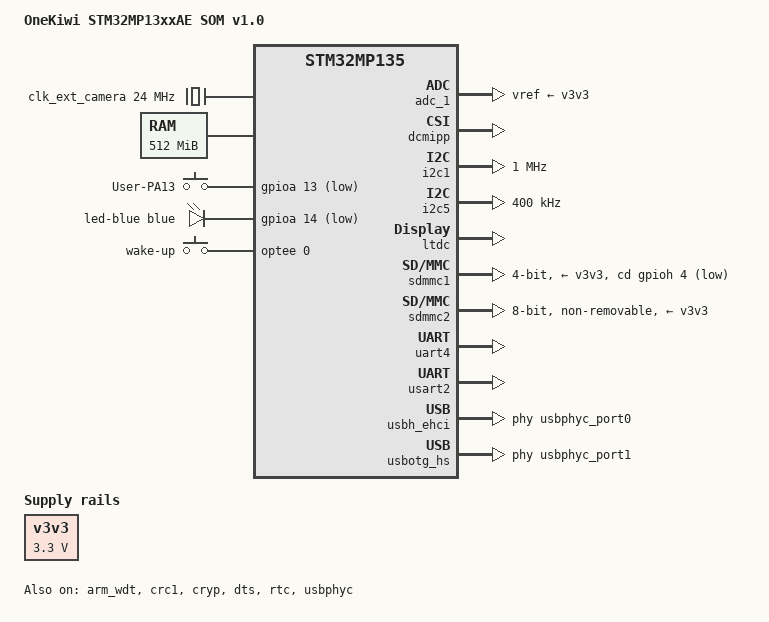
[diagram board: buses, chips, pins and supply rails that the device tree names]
// SPDX-License-Identifier: (GPL-2.0+ OR BSD-3-Clause)
/*
 * Copyright (C) STMicroelectronics 2021 - All Rights Reserved
 * Author: Alexandre Torgue <alexandre.torgue@foss.st.com> for STMicroelectronics.
 */

/dts-v1/;

#include <dt-bindings/gpio/gpio.h>
#include <dt-bindings/input/input.h>
#include <dt-bindings/leds/common.h>
#include <dt-bindings/regulator/st,stm32mp13-regulator.h>
#include <dt-bindings/rtc/rtc-stm32.h>
#include "stm32mp135.dtsi"
#include "stm32mp13xf.dtsi"
#include "stm32mp13-kiwi-pin.dtsi"

/ {
	model = "OneKiwi STM32MP13xxAE SOM v1.0";
	compatible = "st,stm32mp13xxae-som", "st,stm32mp135";

	aliases {
		serial0 = &uart4;
	};

	chosen {
		stdout-path = "serial0:115200n8";
		#address-cells = <1>;
		#size-cells = <1>;
		ranges;

		framebuffer {
			compatible = "simple-framebuffer";
			clocks = <&rcc LTDC_PX>;
			status = "disabled";
		};
	};

	clocks {
		clk_ext_camera: clk-ext-camera {
			#clock-cells = <0>;
			compatible = "fixed-clock";
			clock-frequency = <24000000>;
		};

		clk_mco1: clk-mco1 {
			#clock-cells = <0>;
			compatible = "fixed-clock";
			clock-frequency = <24000000>;
		};
	};

	memory@c0000000 {
		device_type = "memory";
		reg = <0xc0000000 0x20000000>;
	};

	reserved-memory {
		#address-cells = <1>;
		#size-cells = <1>;
		ranges;

		optee@dd000000 {
			reg = <0xdd000000 0x3000000>;
			no-map;
		};
	};

	gpio-keys {
		compatible = "gpio-keys";

		user-pa13 {
			label = "User-PA13";
			linux,code = <BTN_1>;
			gpios = <&gpioa 13 (GPIO_ACTIVE_LOW | GPIO_PULL_UP)>;
		};
	};

	leds {
		compatible = "gpio-leds";

		led-blue {
			function = LED_FUNCTION_HEARTBEAT;
			color = <LED_COLOR_ID_BLUE>;
			gpios = <&gpioa 14 GPIO_ACTIVE_LOW>;
			linux,default-trigger = "heartbeat";
			default-state = "off";
		};
	};

	v3v3: v3v3 {
		compatible = "regulator-fixed";
		regulator-name = "v3v3";
		regulator-min-microvolt = <3300000>;
		regulator-max-microvolt = <3300000>;
		regulator-always-on;
	};

	wake_up {
		compatible = "gpio-keys";
		status = "okay";

		button {
			label = "wake-up";
			linux,code = <KEY_WAKEUP>;
			interrupts-extended = <&optee 0>;
			status = "okay";
		};
	};
};

&adc_1 {
	pinctrl-names = "default";
	pinctrl-0 = <&adc1_usb_cc_pins_a>;
	vdda-supply = <&v3v3>;
	vref-supply = <&v3v3>;
	status = "okay";
	/*
	adc1: adc@0 {
		status = "okay";
		channel@6 {
			reg = <6>;
			st,min-sample-time-ns = <5000>;
		};
		channel@12 {
			reg = <12>;
			st,min-sample-time-ns = <5000>;
		};
	};*/
};

&arm_wdt {
	timeout-sec = <32>;
	status = "okay";
};

&crc1 {
	status = "okay";
};

&cryp {
	status = "okay";
};

&dcmipp {
	status = "okay";
	pinctrl-names = "default", "sleep";
	pinctrl-0 = <&dcmipp_pins_a>;
	pinctrl-1 = <&dcmipp_sleep_pins_a>;
};

&dts {
	status = "okay";
};

&i2c1 {
	pinctrl-names = "default", "sleep";
	pinctrl-0 = <&i2c1_pins_a>;
	pinctrl-1 = <&i2c1_sleep_pins_a>;
	i2c-scl-rising-time-ns = <96>;
	i2c-scl-falling-time-ns = <3>;
	clock-frequency = <1000000>;
	status = "okay";
	/* spare dmas for other usage */
	/delete-property/dmas;
	/delete-property/dma-names;
};

&i2c5 {
	pinctrl-names = "default", "sleep";
	pinctrl-0 = <&i2c5_pins_a>;
	pinctrl-1 = <&i2c5_sleep_pins_a>;
	i2c-scl-rising-time-ns = <170>;
	i2c-scl-falling-time-ns = <5>;
	clock-frequency = <400000>;
	status = "okay";
	/* spare dmas for other usage */
	/delete-property/dmas;
	/delete-property/dma-names;
};

&ltdc {
	pinctrl-names = "default", "sleep";
	pinctrl-0 = <&ltdc_pins_a>;
	pinctrl-1 = <&ltdc_sleep_pins_a>;
	status = "okay";
};

&rtc {
	st,lsco = <RTC_OUT2_RMP>;
	pinctrl-0 = <&rtc_out2_rmp_pins_a>;
	pinctrl-names = "default";
	status = "okay";
};

/* microSD */
&sdmmc1 {
	pinctrl-names = "default", "opendrain", "sleep";
	pinctrl-0 = <&sdmmc1_b4_pins_a &sdmmc1_clk_pins_a>;
	pinctrl-1 = <&sdmmc1_b4_od_pins_a &sdmmc1_clk_pins_a>;
	pinctrl-2 = <&sdmmc1_b4_sleep_pins_a>;
	cd-gpios = <&gpioh 4 (GPIO_ACTIVE_LOW | GPIO_PULL_UP)>;
	disable-wp;
	st,neg-edge;
	bus-width = <4>;
	vmmc-supply = <&v3v3>;
	status = "okay";
};

/* eMMC */
&sdmmc2 {
	pinctrl-names = "default", "opendrain", "sleep";
	pinctrl-0 = <&sdmmc2_b4_pins_a &sdmmc2_d47_pins_a>;
	pinctrl-1 = <&sdmmc2_b4_od_pins_a &sdmmc2_d47_pins_a>;
	pinctrl-2 = <&sdmmc2_b4_sleep_pins_a &sdmmc2_d47_sleep_pins_a>;
	non-removable;
	no-sd;
	no-sdio;
	st,neg-edge;
	bus-width = <8>;
	vmmc-supply = <&v3v3>;
	vqmmc-supply = <&v3v3>;
	mmc-ddr-3_3v;
	status = "okay";
};

&spi5 {
	pinctrl-names = "default", "sleep";
	pinctrl-0 = <&spi5_pins_a>;
	pinctrl-1 = <&spi5_sleep_pins_a>;
	status = "disabled";
};

&timers3 {
	/delete-property/dmas;
	/delete-property/dma-names;
	status = "disabled";
	pwm {
		pinctrl-0 = <&pwm3_pins_a>;
		pinctrl-1 = <&pwm3_sleep_pins_a>;
		pinctrl-names = "default", "sleep";
		status = "okay";
	};
	timer@2 {
		status = "okay";
	};
};

&timers4 {
	/delete-property/dmas;
	/delete-property/dma-names;
	status = "disabled";
	pwm {
		pinctrl-0 = <&pwm4_pins_a>;
		pinctrl-1 = <&pwm4_sleep_pins_a>;
		pinctrl-names = "default", "sleep";
		status = "okay";
	};
	timer@3 {
		status = "okay";
	};
};

&timers8 {
	/delete-property/dmas;
	/delete-property/dma-names;
	status = "disabled";
	pwm {
		pinctrl-0 = <&pwm8_pins_a>;
		pinctrl-1 = <&pwm8_sleep_pins_a>;
		pinctrl-names = "default", "sleep";
		status = "okay";
	};
	timer@7 {
		status = "okay";
	};
};

&timers14 {
	status = "disabled";
	pwm {
		pinctrl-0 = <&pwm14_pins_a>;
		pinctrl-1 = <&pwm14_sleep_pins_a>;
		pinctrl-names = "default", "sleep";
		status = "okay";
	};
	timer@13 {
		status = "okay";
	};
};

&uart4 {
	pinctrl-names = "default", "sleep", "idle";
	pinctrl-0 = <&uart4_pins_a>;
	pinctrl-1 = <&uart4_sleep_pins_a>;
	pinctrl-2 = <&uart4_idle_pins_a>;
	/delete-property/dmas;
	/delete-property/dma-names;
	status = "okay";
};

&uart8 {
	pinctrl-names = "default", "sleep", "idle";
	pinctrl-0 = <&uart8_pins_a>;
	pinctrl-1 = <&uart8_sleep_pins_a>;
	pinctrl-2 = <&uart8_idle_pins_a>;
	/delete-property/dmas;
	/delete-property/dma-names;
	status = "disabled";
};

&usart1 {
	pinctrl-names = "default", "sleep", "idle";
	pinctrl-0 = <&usart1_pins_a>;
	pinctrl-1 = <&usart1_sleep_pins_a>;
	pinctrl-2 = <&usart1_idle_pins_a>;
	uart-has-rtscts;
	status = "disabled";
};

&usart2 {
	pinctrl-names = "default", "sleep", "idle";
	pinctrl-0 = <&usart2_pins_a>;
	pinctrl-1 = <&usart2_sleep_pins_a>;
	pinctrl-2 = <&usart2_idle_pins_a>;
	uart-has-rtscts;
	status = "okay";
};

&usbh_ehci {
	phys = <&usbphyc_port0>;
	status = "okay";
	#address-cells = <1>;
	#size-cells = <0>;
};

&usbotg_hs {
	phys = <&usbphyc_port1 0>;
	phy-names = "usb2-phy";
	usb-role-switch;
	status = "okay";
};

&usbphyc {
	status = "okay";
};

&usbphyc_port0 {
	phy-supply = <&v3v3>;
	st,current-boost-microamp = <1000>;
	st,decrease-hs-slew-rate;
	st,tune-hs-dc-level = <2>;
	st,enable-hs-rftime-reduction;
	st,trim-hs-current = <11>;
	st,trim-hs-impedance = <2>;
	st,tune-squelch-level = <1>;
	st,enable-hs-rx-gain-eq;
	st,no-hs-ftime-ctrl;
	st,no-lsfs-sc;
};

&usbphyc_port1 {
	phy-supply = <&v3v3>;
	st,current-boost-microamp = <1000>;
	st,decrease-hs-slew-rate;
	st,tune-hs-dc-level = <2>;
	st,enable-hs-rftime-reduction;
	st,trim-hs-current = <11>;
	st,trim-hs-impedance = <2>;
	st,tune-squelch-level = <1>;
	st,enable-hs-rx-gain-eq;
	st,no-hs-ftime-ctrl;
	st,no-lsfs-sc;
};
